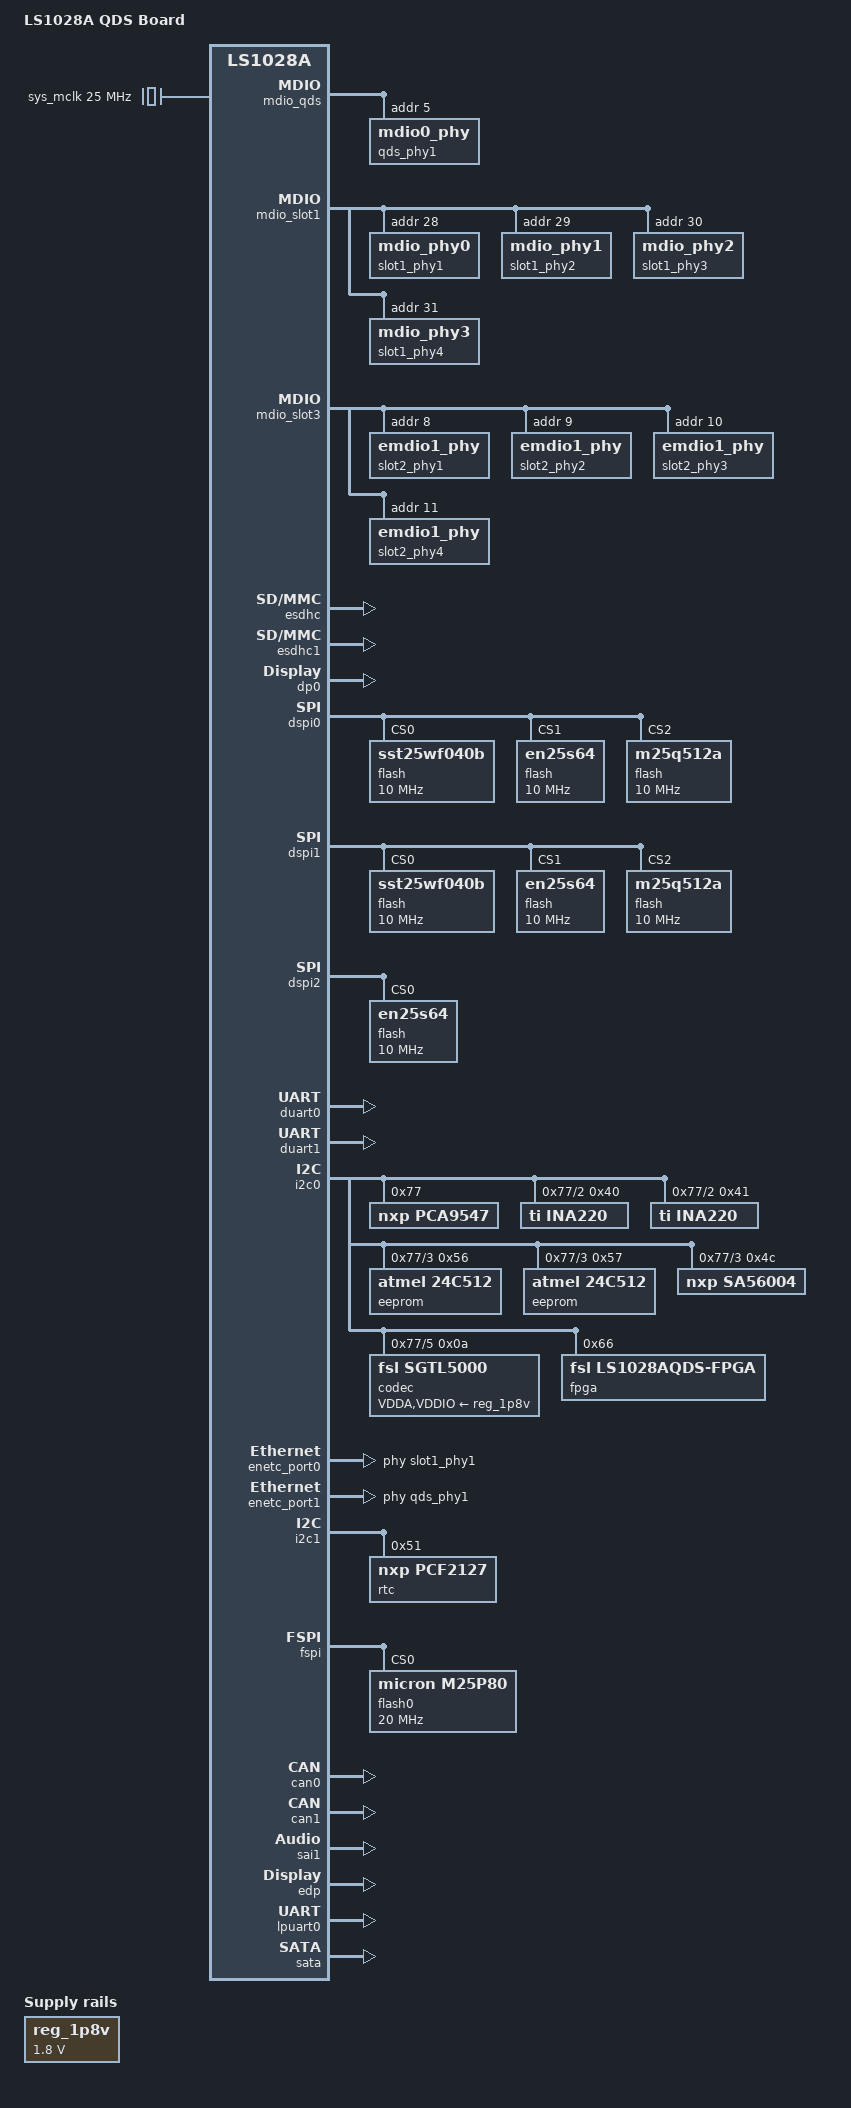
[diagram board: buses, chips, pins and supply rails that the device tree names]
/*
 * Device Tree Include file for NXP Layerscape-1088A family SoC.
 *
 * Copyright 2017-2019 NXP
 *
 * Harninder Rai <harninder.rai@nxp.com>
 *
 * This file is dual-licensed: you can use it either under the terms
 * of the GPLv2 or the X11 license, at your option. Note that this dual
 * licensing only applies to this file, and not this project as a
 * whole.
 *
 *  a) This library is free software; you can redistribute it and/or
 *     modify it under the terms of the GNU General Public License as
 *     published by the Free Software Foundation; either version 2 of the
 *     License, or (at your option) any later version.
 *
 *     This library is distributed in the hope that it will be useful,
 *     but WITHOUT ANY WARRANTY; without even the implied warranty of
 *     MERCHANTABILITY or FITNESS FOR A PARTICULAR PURPOSE.  See the
 *     GNU General Public License for more details.
 *
 * Or, alternatively,
 *
 *  b) Permission is hereby granted, free of charge, to any person
 *     obtaining a copy of this software and associated documentation
 *     files (the "Software"), to deal in the Software without
 *     restriction, including without limitation the rights to use,
 *     copy, modify, merge, publish, distribute, sublicense, and/or
 *     sell copies of the Software, and to permit persons to whom the
 *     Software is furnished to do so, subject to the following
 *     conditions:
 *
 *     The above copyright notice and this permission notice shall be
 *     included in all copies or substantial portions of the Software.
 *
 *     THE SOFTWARE IS PROVIDED "AS IS", WITHOUT WARRANTY OF ANY KIND,
 *     EXPRESS OR IMPLIED, INCLUDING BUT NOT LIMITED TO THE WARRANTIES
 *     OF MERCHANTABILITY, FITNESS FOR A PARTICULAR PURPOSE AND
 *     NONINFRINGEMENT. IN NO EVENT SHALL THE AUTHORS OR COPYRIGHT
 *     HOLDERS BE LIABLE FOR ANY CLAIM, DAMAGES OR OTHER LIABILITY,
 *     WHETHER IN AN ACTION OF CONTRACT, TORT OR OTHERWISE, ARISING
 *     FROM, OUT OF OR IN CONNECTION WITH THE SOFTWARE OR THE USE OR
 *     OTHER DEALINGS IN THE SOFTWARE.
 */

/dts-v1/;
#include "fsl-ls1028a.dtsi"

/ {
	model = "LS1028A QDS Board";
	compatible = "fsl,ls1028a-qds", "fsl,ls1028a";

	aliases {
		gpio0 = &gpio0;
		gpio1 = &gpio1;
		gpio2 = &gpio2;
		crypto = &crypto;
		serial0 = &duart0;
		serial1 = &duart1;
	};

	chosen {
		stdout-path = "serial0:115200n8";
	};

	sys_mclk: clock-mclk {
		compatible = "fixed-clock";
		#clock-cells = <0>;
		clock-frequency = <25000000>;
	};

	reg_1p8v: regulator-1p8v {
		compatible = "regulator-fixed";
		regulator-name = "1P8V";
		regulator-min-microvolt = <1800000>;
		regulator-max-microvolt = <1800000>;
		regulator-always-on;
	};

	sound {
		compatible = "simple-audio-card";
		simple-audio-card,format = "i2s";
		simple-audio-card,widgets =
			"Microphone", "Microphone Jack",
			"Headphone", "Headphone Jack",
			"Speaker", "Speaker Ext",
			"Line", "Line In Jack";
		simple-audio-card,routing =
			"MIC_IN", "Microphone Jack",
			"Microphone Jack", "Mic Bias",
			"LINE_IN", "Line In Jack",
			"Headphone Jack", "HP_OUT",
			"Speaker Ext", "LINE_OUT";

		simple-audio-card,cpu {
			sound-dai = <&sai1>;
			frame-master;
			bitclock-master;
		};

		simple-audio-card,codec {
			sound-dai = <&codec>;
			frame-master;
			bitclock-master;
			system-clock-frequency = <25000000>;
		};
	};
	mdio-mux {
		compatible = "mdio-mux-multiplexer";
		mux-controls = <&mux 0>;
		mdio-parent-bus = <&mdio0>;
		#address-cells=<1>;
		#size-cells = <0>;

		/* on-board RGMII PHY */
		mdio_qds: mdio@00 {
			#address-cells = <1>;
			#size-cells = <0>;
			reg = <0x00>;
		};
		/* slot 1 - up to 4x, SoC lanes 0, 1, optionally 3, 4 */
		mdio_slot1: mdio@4 {
			#address-cells = <1>;
			#size-cells = <0>;
			reg = <0x4>;
		};
		/* slot 2 or SFP cage - 1x, SoC lane 1 */
		mdio_slot3: mdio_slot2: mdio@5 {
			#address-cells = <1>;
			#size-cells = <0>;
			reg = <0x5>;
		};
		/* slot 3 - 1x or 2x, SoC lane 2 and optionally 3 */
		mdio_slot4: mdio@6 {
			#address-cells = <1>;
			#size-cells = <0>;
			reg = <0x6>;
		};
		/* slot 4  - 1x, SoC lane 3 */
		mdio_slot15: mdio@7 {
			#address-cells = <1>;
			#size-cells = <0>;
			reg = <0x7>;
		};
	};
};

&esdhc {
	status = "okay";
};

&esdhc1 {
	status = "okay";
};

&dp0 {
	status = "okay";
};

&dspi0 {
	bus-num = <0>;
	status = "okay";

	flash@0 {
		#address-cells = <1>;
		#size-cells = <1>;
		compatible = "sst25wf040b", "jedec,spi-nor";
		spi-cpol;
		spi-cpha;
		reg = <0>;
		spi-max-frequency = <10000000>;
	};

	flash@1 {
		#address-cells = <1>;
		#size-cells = <1>;
		compatible = "en25s64", "jedec,spi-nor";
		spi-cpol;
		spi-cpha;
		reg = <1>;
		spi-max-frequency = <10000000>;
	};

	flash@2 {
		#address-cells = <1>;
		#size-cells = <1>;
		compatible = "m25q512a", "jedec,spi-nor";
		spi-cpol;
		spi-cpha;
		reg = <2>;
		spi-max-frequency = <10000000>;
	};
};

&dspi1 {
	bus-num = <1>;
	status = "okay";

	flash@0 {
		#address-cells = <1>;
		#size-cells = <1>;
		compatible = "sst25wf040b", "jedec,spi-nor";
		spi-cpol;
		spi-cpha;
		reg = <0>;
		spi-max-frequency = <10000000>;
	};

	flash@1 {
		#address-cells = <1>;
		#size-cells = <1>;
		compatible = "en25s64", "jedec,spi-nor";
		spi-cpol;
		spi-cpha;
		reg = <1>;
		spi-max-frequency = <10000000>;
	};

	flash@2 {
		#address-cells = <1>;
		#size-cells = <1>;
		compatible = "m25q512a", "jedec,spi-nor";
		spi-cpol;
		spi-cpha;
		reg = <2>;
		spi-max-frequency = <10000000>;
	};
};

&dspi2 {
	bus-num = <2>;
	status = "okay";

	flash@0 {
		#address-cells = <1>;
		#size-cells = <1>;
		compatible = "en25s64", "jedec,spi-nor";
		spi-cpol;
		spi-cpha;
		reg = <0>;
		spi-max-frequency = <10000000>;
	};
};

&duart0 {
	status = "okay";
};

&duart1 {
	status = "okay";
};

&i2c0 {
	status = "okay";

	pca9547@77 {
		compatible = "nxp,pca9547";
		reg = <0x77>;
		#address-cells = <1>;
		#size-cells = <0>;

		i2c@2 {
			#address-cells = <1>;
			#size-cells = <0>;
			reg = <0x2>;

			ina220@40 {
				compatible = "ti,ina220";
				reg = <0x40>;
				shunt-resistor = <1000>;
			};

			ina220@41 {
				compatible = "ti,ina220";
				reg = <0x41>;
				shunt-resistor = <1000>;
			};
		};

		i2c@3 {
			#address-cells = <1>;
			#size-cells = <0>;
			reg = <0x3>;

			eeprom@56 {
				compatible = "atmel,24c512";
				reg = <0x56>;
			};

			eeprom@57 {
				compatible = "atmel,24c512";
				reg = <0x57>;
			};

			sa56004@4c {
				compatible = "nxp,sa56004";
				reg = <0x4c>;
			};


		};

		i2c@5 {
			#address-cells = <1>;
			#size-cells = <0>;
			reg = <0x5>;

			codec: sgtl5000@a {
				#sound-dai-cells = <0>;
				compatible = "fsl,sgtl5000";
				reg = <0xa>;
				VDDA-supply = <&reg_1p8v>;
				VDDIO-supply = <&reg_1p8v>;
				clocks = <&sys_mclk>;
			};
		};
	};
	fpga@66 {
		#address-cells = <1>;
		#size-cells = <0>;
		compatible = "fsl,ls1028aqds-fpga", "fsl,fpga-qixis-i2c",
			     "simple-mfd";
		reg = <0x66>;

		mux: mux-controller {
			compatible = "reg-mux";
			#mux-control-cells = <1>;
			mux-reg-masks = <0x54 0xf0>; /* 0: reg 0x54, bits 7:4 */
		};
	};
};

&mdio_qds {
	qds_phy1: mdio0_phy@5 {
		/* Atheros 8035 */
		reg = <5>;
	};
};

&mdio_slot1 {
	/* VSC8234 PHY - 4xSGMII */
	slot1_phy1: mdio_phy0@1c {
		reg = <0x1c>;
		phy-connection-type = "sgmii";
	};
	slot1_phy2: mdio_phy1@1d {
		reg = <0x1d>;
		phy-connection-type = "sgmii";
	};
	slot1_phy3: mdio_phy2@1e {
		reg = <0x1e>;
		phy-connection-type = "sgmii";
	};
	slot1_phy4: mdio_phy3@1f {
		reg = <0x1f>;
		phy-connection-type = "sgmii";
	};
};

&mdio_slot2 {
	/* VSC8514 PHY (aka Freescale F104) */
	slot2_phy1: emdio1_phy@1 {
		reg = <0x08>;
		phy-connection-type = "qsgmii";
	};
	slot2_phy2: emdio1_phy@2 {
		reg = <0x09>;
		phy-connection-type = "qsgmii";
	};
	slot2_phy3: emdio1_phy@3 {
		reg = <0x0a>;
		phy-connection-type = "qsgmii";
	};
	slot2_phy4: emdio1_phy@4 {
		reg = <0x0b>;
		phy-connection-type = "qsgmii";
	};
};

&enetc_port0 {
	phy-handle = <&slot1_phy1>;
};

&enetc_port1 {
	phy-handle = <&qds_phy1>;
};

/* l2switch ports */
&switch_port0 {
	fixed-link {
		speed = <1000>;
		full-duplex;
	};
};

&switch_port1 {
	fixed-link {
		speed = <1000>;
		full-duplex;
	};
};

&switch_port2 {
	fixed-link {
		speed = <1000>;
		full-duplex;
	};
};

&switch_port3 {
	fixed-link {
		speed = <1000>;
		full-duplex;
	};
};

&i2c1 {
	status = "okay";
	rtc@51 {
		compatible = "nxp,pcf2127";
		reg = <0x51>;
	};
};

&fspi {
	status = "okay";
	flash0: mt35xu02g@0 {
		#address-cells = <1>;
		#size-cells = <1>;
		compatible = "micron,m25p80";
		m25p,fast-read;
		spi-max-frequency = <20000000>;
		reg = <0>;
		/* The following setting enables 1-1-8 (CMD-ADDR-DATA) mode */
		spi-rx-bus-width = <8>; /* 8 SPI Rx lines */
		spi-tx-bus-width = <1>; /* 1 SPI Tx line */
	};
};

&can0 {
	status = "okay";
};

&can1 {
	status = "okay";
};

&sai1 {
	status = "okay";
};

&edp {
	fsl,no_edid;
	resolution = "3840x2160@60",
		   "1920x1080@60",
		   "1280x720@60",
		   "720x480@60";
	lane_mapping = <0x4e>;
	edp_link_rate = <0x6>;
	edp_num_lanes = <0x4>;
	status = "okay";
};

&lpuart0 {
	status = "okay";
};

&sata {
        status = "okay";
};
